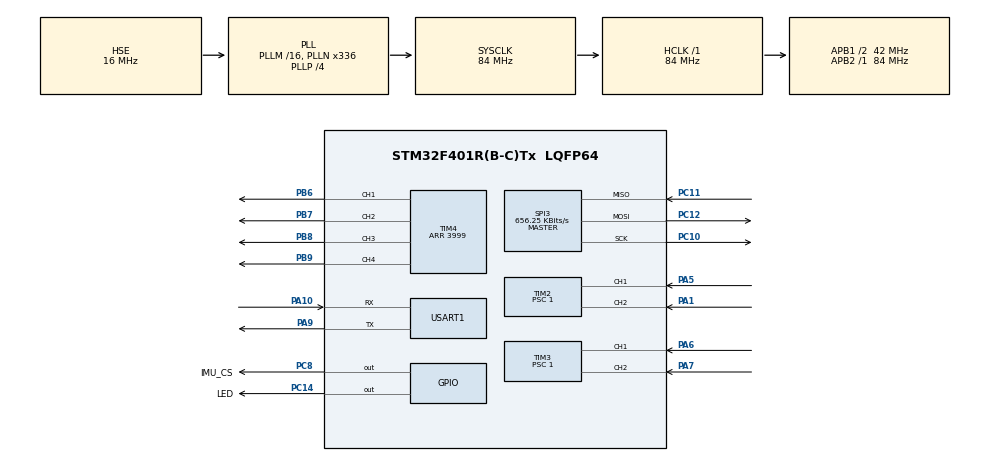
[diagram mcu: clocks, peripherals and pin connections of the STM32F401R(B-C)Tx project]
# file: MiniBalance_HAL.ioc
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Mcu.Family=STM32F4
Mcu.Name=STM32F401R(B-C)Tx
Mcu.Package=LQFP64
NVIC.PriorityGroup=NVIC_PRIORITYGROUP_4
NVIC.TIM5_IRQn=true\:0\:0\:false\:false\:true\:true\:true\:true
PA1.GPIO_PuPd=GPIO_PULLUP
PA1.Signal=S_TIM2_CH2
PA10.GPIO_PuPd=GPIO_PULLUP
PA10.Mode=Asynchronous
PA10.Signal=USART1_RX
PA13.Mode=Serial_Wire
PA13.Signal=SYS_JTMS-SWDIO
PA14.Mode=Serial_Wire
PA14.Signal=SYS_JTCK-SWCLK
PA5.GPIO_PuPd=GPIO_PULLUP
PA5.Signal=S_TIM2_CH1_ETR
PA6.GPIO_PuPd=GPIO_PULLUP
PA6.Signal=S_TIM3_CH1
PA7.GPIO_PuPd=GPIO_PULLUP
PA7.Signal=S_TIM3_CH2
PA9.GPIO_PuPd=GPIO_PULLUP
PA9.Mode=Asynchronous
PA9.Signal=USART1_TX
PB6.GPIO_PuPd=GPIO_NOPULL
PB6.Signal=S_TIM4_CH1
PB7.GPIO_PuPd=GPIO_NOPULL
PB7.Signal=S_TIM4_CH2
PB8.GPIO_PuPd=GPIO_NOPULL
PB8.Signal=S_TIM4_CH3
PB9.GPIO_PuPd=GPIO_NOPULL
PB9.Signal=S_TIM4_CH4
PC10.Mode=Full_Duplex_Master
PC10.Signal=SPI3_SCK
PC11.Mode=Full_Duplex_Master
PC11.Signal=SPI3_MISO
PC12.Mode=Full_Duplex_Master
PC12.Signal=SPI3_MOSI
PC14-OSC32_IN.GPIO_Label=LED
PC14-OSC32_IN.GPIO_PuPd=GPIO_PULLUP
PC14-OSC32_IN.PinState=GPIO_PIN_RESET
PC14-OSC32_IN.Signal=GPIO_Output
PC8.GPIO_Label=IMU_CS
PC8.GPIO_ModeDefaultOutputPP=GPIO_MODE_OUTPUT_PP
PC8.GPIO_PuPd=GPIO_PULLUP
PC8.GPIO_Speed=GPIO_SPEED_FREQ_HIGH
PC8.PinState=GPIO_PIN_SET
PC8.Signal=GPIO_Output
PH0\ -\ OSC_IN.Mode=HSE-External-Oscillator
PH0\ -\ OSC_IN.Signal=RCC_OSC_IN
PH1\ -\ OSC_OUT.Mode=HSE-External-Oscillator
PH1\ -\ OSC_OUT.Signal=RCC_OSC_OUT
ProjectManager.HeapSize=0x200
ProjectManager.StackSize=0x400
ProjectManager.TargetToolchain=CMake
RCC.48MHZClocksFreq_Value=48000000
RCC.AHBFreq_Value=84000000
RCC.APB1CLKDivider=RCC_HCLK_DIV2
RCC.APB1Freq_Value=42000000
RCC.APB1TimFreq_Value=84000000
RCC.APB2Freq_Value=84000000
RCC.APB2TimFreq_Value=84000000
RCC.CortexFreq_Value=84000000
RCC.HCLKFreq_Value=84000000
RCC.HSE_VALUE=16000000
RCC.HSI_VALUE=16000000
RCC.LSE_VALUE=32768
RCC.PLLN=336
RCC.PLLP=RCC_PLLP_DIV4
RCC.PLLQ=7
RCC.PLLSourceVirtual=RCC_PLLSOURCE_HSE
RCC.SYSCLKFreq_VALUE=84000000
RCC.SYSCLKSource=RCC_SYSCLKSOURCE_PLLCLK
RCC.VCOOutputFreq_Value=336000000
SH.S_TIM2_CH1_ETR.0=TIM2_CH1,Encoder_Interface
SH.S_TIM2_CH2.0=TIM2_CH2,Encoder_Interface
SH.S_TIM3_CH1.0=TIM3_CH1,Encoder_Interface
SH.S_TIM3_CH2.0=TIM3_CH2,Encoder_Interface
SH.S_TIM4_CH1.0=TIM4_CH1,PWM Generation1 CH1
SH.S_TIM4_CH2.0=TIM4_CH2,PWM Generation2 CH2
SH.S_TIM4_CH3.0=TIM4_CH3,PWM Generation3 CH3
SH.S_TIM4_CH4.0=TIM4_CH4,PWM Generation4 CH4
SPI3.BaudRatePrescaler=SPI_BAUDRATEPRESCALER_64
SPI3.CalculateBaudRate=656.25 KBits/s
SPI3.Direction=SPI_DIRECTION_2LINES
SPI3.Mode=SPI_MODE_MASTER
SPI3.VirtualType=VM_MASTER
TIM2.EncoderMode=TIM_ENCODERMODE_TI12
TIM2.IC1Filter=10
TIM2.IC2Filter=10
TIM2.Period=65535
TIM2.Prescaler=1
TIM3.EncoderMode=TIM_ENCODERMODE_TI12
TIM3.IC1Filter=10
TIM3.IC2Filter=10
TIM3.Prescaler=1
TIM4.AutoReloadPreload=TIM_AUTORELOAD_PRELOAD_ENABLE
TIM4.Channel-PWM\ Generation1\ CH1=TIM_CHANNEL_1
TIM4.Channel-PWM\ Generation2\ CH2=TIM_CHANNEL_2
TIM4.Channel-PWM\ Generation3\ CH3=TIM_CHANNEL_3
TIM4.Channel-PWM\ Generation4\ CH4=TIM_CHANNEL_4
TIM4.Period=3999
TIM5.Period=4999
TIM5.Prescaler=83
USART1.VirtualMode=VM_ASYNC
VP_TIM5_VS_ClockSourceINT.Mode=Internal
board=custom

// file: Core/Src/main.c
/* USER CODE BEGIN Header */
/**
  ******************************************************************************
  * @file           : main.c
  * @brief          : Main program body
  ******************************************************************************
  * @attention
  *
  * Copyright (c) 2026 STMicroelectronics.
  * All rights reserved.
  *
  * This software is licensed under terms that can be found in the LICENSE file
  * in the root directory of this software component.
  * If no LICENSE file comes with this software, it is provided AS-IS.
  *
  ******************************************************************************
  */
/* USER CODE END Header */
#include "main.h"
#include "spi.h"
#include "tim.h"
#include "usart.h"
#include "gpio.h"

/* USER CODE BEGIN Includes */
#include "motor.h"
#include "encoder.h"
#include "velocity.h"
#include "qmi8658.h"
#include <stdio.h>
#include <math.h>
#include "attitude_ekf.h"
/* USER CODE END Includes */

/* USER CODE BEGIN PV */
volatile int16_t left_encoder_count = 0;
volatile int16_t right_encoder_count = 0;

volatile uint8_t velocity_sample_ready = 0;
AttitudeEKF_t g_attitude_ekf;

volatile uint8_t imu_5ms_ready = 0;

/* USER CODE END PV */

void SystemClock_Config(void);

int main(void)
{

  /* MCU Configuration--------------------------------------------------------*/

  /* Reset of all peripherals, Initializes the Flash interface and the Systick. */
  HAL_Init();

  /* USER CODE BEGIN Init */
  uint8_t msg[] = "MiniBalance HAL Start!\r\n";
  HAL_UART_Transmit(&huart1,msg,sizeof(msg)-1,100);

  /* USER CODE END Init */

  /* Configure the system clock */
  SystemClock_Config();

  /* Initialize all configured peripherals */
  MX_GPIO_Init();
  MX_USART1_UART_Init();
  MX_TIM2_Init();
  MX_TIM3_Init();
  MX_TIM4_Init();
  MX_TIM5_Init();
  MX_SPI3_Init();
  /* USER CODE BEGIN 2 */
  Motor_Init();
  Encoder_Init();
  Velocity_Reset();
  HAL_TIM_Base_Start_IT(&htim5);
  QMI8658_Init();
  QMI8658_Calibrate();
  HAL_Delay(20);

  float initial_bias_rad_s = QMI8658_GyroRawToRadS(gyro_x_offset);
  AttitudeEKF_Init(&g_attitude_ekf, angle_zero, initial_bias_rad_s);

  char msg1[100];
  int len = snprintf(msg1,sizeof(msg1),"GX_OFFSET:%.2f GZ_OFFSET:%.2f ANGLE_ZERO:%.2f\r\n",gyro_x_offset,gyro_z_offset,angle_zero);
  HAL_UART_Transmit(&huart1,(uint8_t *)msg1,len,100);

  uint16_t print_divider = 0;

  QMI8658_RawData_t imu;

  float ay_mps2;
  float az_mps2;
  float gyro_x_rad_s;

  float ekf_angle_deg;
  float ekf_bias_dps;

  float acc_angle_deg;

  char print_msg[200];
  /* USER CODE END 2 */

  /* Infinite loop */
  /* USER CODE BEGIN WHILE */
 while (1)
  {
    if (imu_5ms_ready)
    {
      imu_5ms_ready = 0;
      /* ============================
       * 读取 IMU
       * ============================
       */
      QMI8658_ReadRaw(&imu);
      /* ============================
       * 转换成 SI 单位
       * ============================
       */
      ay_mps2 = QMI8658_AccRawToMps2(imu.acc_y);

      az_mps2 = QMI8658_AccRawToMps2(imu.acc_z);

      gyro_x_rad_s = QMI8658_GyroRawToRadS(imu.gyro_x);

      /* ============================
       * EKF
       *
       * 第一阶段：
       * 暂时 a = 0
       * ============================
       */

      AttitudeEKF_Update(&g_attitude_ekf, gyro_x_rad_s, ay_mps2, az_mps2, g_velocity.linear_acc_m_s2, 0.005f);
      /* 每 200ms 打印一次 */
      print_divider++;

      if(print_divider >= 40)
      {
        print_divider = 0;
        ekf_angle_deg = AttitudeEKF_GetAngleDeg(&g_attitude_ekf);
        ekf_bias_dps = AttitudeEKF_GetBiasDps(&g_attitude_ekf);
        /*
        * 纯加速度计角度
        * 用来和 EKF 做对照
        */
        acc_angle_deg = QMI8658_GetAccAngle(&imu);
        //int len = snprintf(print_msg,sizeof(print_msg),"ACC:%7.2f  EKF:%7.2f  BIAS:%7.3f\r\n", acc_angle_deg,ekf_angle_deg,ekf_bias_dps);
        int len = snprintf(print_msg,sizeof(print_msg),"V:%7.3f  A_RAW:%7.3f  A_F:%7.3f  ACC:%7.2f  EKF:%7.2f\r\n",g_velocity.average_m_s,g_velocity.linear_acc_raw_m_s2,g_velocity.linear_acc_m_s2,acc_angle_deg,ekf_angle_deg);
        HAL_UART_Transmit(&huart1,(uint8_t *)print_msg,len,100);
        }
    }
    /* USER CODE END WHILE */

  }
}

void SystemClock_Config(void)
{
  RCC_OscInitTypeDef RCC_OscInitStruct = {0};
  RCC_ClkInitTypeDef RCC_ClkInitStruct = {0};

  /** Configure the main internal regulator output voltage
  */
  __HAL_RCC_PWR_CLK_ENABLE();
  __HAL_PWR_VOLTAGESCALING_CONFIG(PWR_REGULATOR_VOLTAGE_SCALE2);

  /** Initializes the RCC Oscillators according to the specified parameters
  * in the RCC_OscInitTypeDef structure.
  */
  RCC_OscInitStruct.OscillatorType = RCC_OSCILLATORTYPE_HSE;
  RCC_OscInitStruct.HSEState = RCC_HSE_ON;
  RCC_OscInitStruct.PLL.PLLState = RCC_PLL_ON;
  RCC_OscInitStruct.PLL.PLLSource = RCC_PLLSOURCE_HSE;
  RCC_OscInitStruct.PLL.PLLM = 16;
  RCC_OscInitStruct.PLL.PLLN = 336;
  RCC_OscInitStruct.PLL.PLLP = RCC_PLLP_DIV4;
  RCC_OscInitStruct.PLL.PLLQ = 7;
  if (HAL_RCC_OscConfig(&RCC_OscInitStruct) != HAL_OK)
  {
    Error_Handler();
  }

  /** Initializes the CPU, AHB and APB buses clocks
  */
  RCC_ClkInitStruct.ClockType = RCC_CLOCKTYPE_HCLK|RCC_CLOCKTYPE_SYSCLK
                              |RCC_CLOCKTYPE_PCLK1|RCC_CLOCKTYPE_PCLK2;
  RCC_ClkInitStruct.SYSCLKSource = RCC_SYSCLKSOURCE_PLLCLK;
  RCC_ClkInitStruct.AHBCLKDivider = RCC_SYSCLK_DIV1;
  RCC_ClkInitStruct.APB1CLKDivider = RCC_HCLK_DIV2;
  RCC_ClkInitStruct.APB2CLKDivider = RCC_HCLK_DIV1;

  if (HAL_RCC_ClockConfig(&RCC_ClkInitStruct, FLASH_LATENCY_2) != HAL_OK)
  {
    Error_Handler();
  }
}

/* USER CODE BEGIN 4 */
void HAL_TIM_PeriodElapsedCallback(TIM_HandleTypeDef *htim)
{
  static uint8_t velocity_divider = 0;

  if(htim->Instance == TIM5)
  {
    /*
     * 每 5ms 请求一次 IMU / EKF 更新
     */
    imu_5ms_ready = 1;
    /*
    * 每 20ms 更新一次编码器速度
    */

    velocity_divider ++;
    /* 5 ms × 4 = 20 ms，也就是 50 Hz */
    if(velocity_divider >=4 )
    {
      velocity_divider = 0;

      int16_t left_count = Encoder_LeftRead();
      int16_t right_count = Encoder_RightRead();

      Velocity_Update(left_count,right_count);

      velocity_sample_ready = 1;
    }

  }

}
/* USER CODE END 4 */

void Error_Handler(void)
{
  __disable_irq();
  while (1)
  {
  }
}
